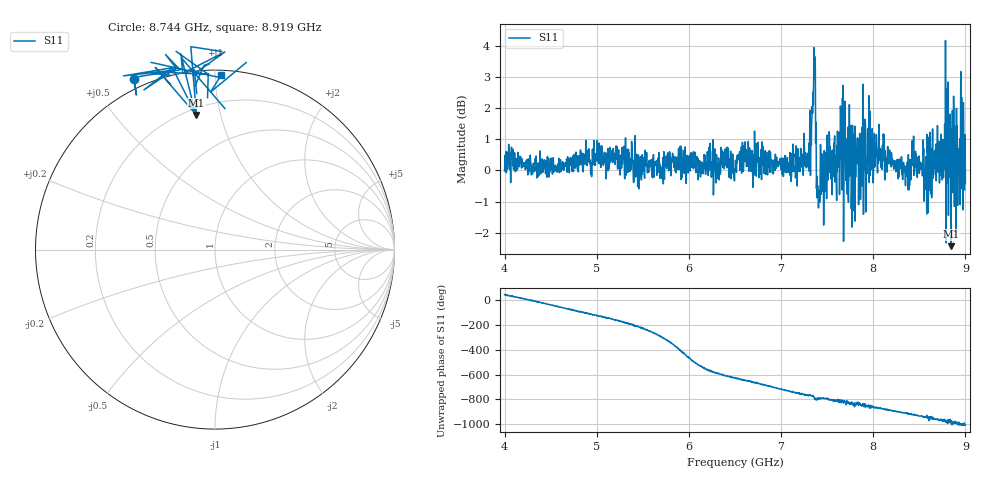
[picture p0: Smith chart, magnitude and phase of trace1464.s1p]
! Created with skrf 1.8.0 (http://scikit-rf.org).
# Hz S RI R 50.0
!freq ReS11 ImS11
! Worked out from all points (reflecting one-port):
!   1601 points, 4 GHz to 9 GHz, reference 50 ohm
!   lowest |S11| = -2.4 dB at 8.844 GHz (marker M1), VSWR 7.22, Z = 12 + j42.1 ohm
!   phase of S11 starts at 47 deg and turns -1057 deg over the sweep
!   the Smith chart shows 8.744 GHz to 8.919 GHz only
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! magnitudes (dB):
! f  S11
! 4 GHz  0.0
! 4.625 GHz  0.0
! 5.25 GHz  -0.1
! 5.875 GHz  0.4
! 6.5 GHz  0.1
! 6.6 GHz  0.8
! 7.125 GHz  0.3
! 7.297 GHz  0.4
! 7.353 GHz  2.8
! 7.409 GHz  -0.8
! 7.522 GHz  1.2
! 7.609 GHz  0.0
! 7.669 GHz  1.4
! 7.75 GHz  0.8
! 7.788 GHz  0.3
! 7.891 GHz  0.4
! 7.909 GHz  1.2
! 7.962 GHz  1.9
! 8.375 GHz  -0.3
! 8.441 GHz  -0.2
! 8.575 GHz  -0.6
! 8.609 GHz  0.8
! 8.741 GHz  -0.1
! 8.788 GHz  0.3
! 8.844 GHz  -2.4
! 8.903 GHz  2.0
! 8.972 GHz  0.6
! 9 GHz  -0.4
